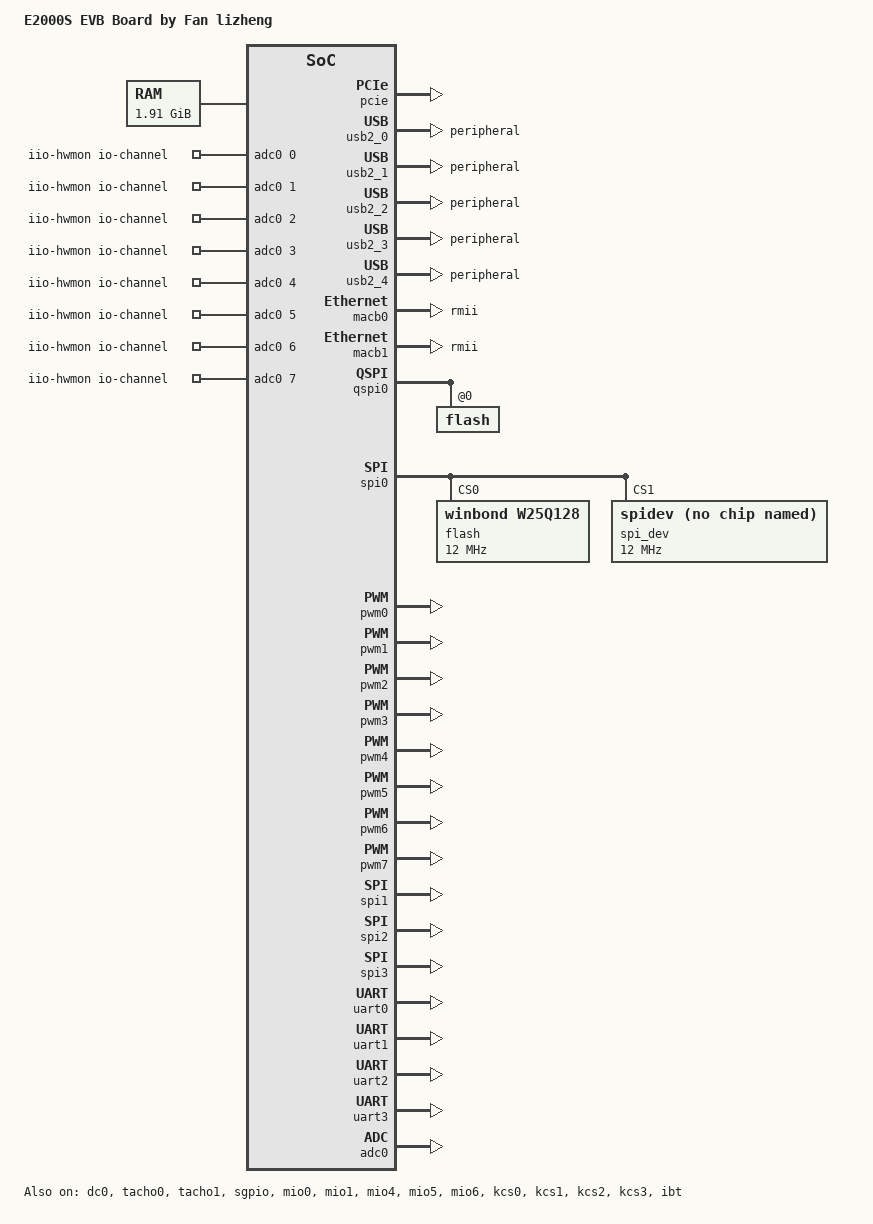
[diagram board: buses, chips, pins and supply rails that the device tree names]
// SPDX-License-Identifier: GPL-2.0
/*
 * DTS file for Phytium E2000S test board
 *
 * Copyright (C) 2022, Phytium Technology Co., Ltd.
 */

/dts-v1/;
/memreserve/ 0x80000000 0x10000;

#include "e2000s.dtsi"

/{
	model = "E2000S EVB Board by Fan lizheng";
	compatible = "phytium,e2000s";

	chosen {
		stdout-path = "serial1:115200n8";
	};

	memory@00{
		device_type = "memory";
		reg = <0x0 0x80000000 0x0 0x7a000000>;
	};

        iio-hwmon {
                compatible = "iio-hwmon";
                io-channels = <&adc0 0>, <&adc0 1>, <&adc0 2>, <&adc0 3>,
                        <&adc0 4>, <&adc0 5>, <&adc0 6>, <&adc0 7>, <&adc1 0> ;
        };
};


&pcie {
	status = "okay";
};

&usb2_0 {
	dr_mode = "peripheral";
	status = "okay";
};

&usb2_1 {
	dr_mode = "peripheral";
	status = "okay";
};

&usb2_2 {
	dr_mode = "peripheral";
	status = "okay";
};

&usb2_3 {
	dr_mode = "peripheral";
	status = "okay";
};

&usb2_4 {
	dr_mode = "peripheral";
	status = "okay";
};

&macb0 {
	phy-mode = "rmii";
	use-mii;
	status = "okay";
};

&macb1 {
	phy-mode = "rmii";
	use-mii;
	use-ncsi;
	status = "okay";
};

&dc0 {
	pipe_mask = /bits/ 8 <0x3>;
	edp_mask = /bits/ 8 <0x0>;
	status = "okay";
};

&qspi0 {
	status = "okay";
	flash@0 {
		#include "openbmc-e2000-flash-layout.dtsi"
	};
};

&spi0 {
	status = "okay";

	flash: w25q128@0 {
		compatible ="winbond,w25q128", "jedec,spi-nor";
		spi-max-frequency = <12000000>;
		reg = <0>;
	};

	spi_dev: spi_dev@1 {
		compatible = "spidev";
		spi-max-frequency = <12000000>;
		reg = <1>;
	};
};

&pwm0 {
	phytium,db = <0 0 0 0 0 0>;
	status = "okay";
};

&pwm1 {
	phytium,db = <0 0 0 1000 1000 0>;
	status = "okay";
};

&pwm2 {
	phytium,db = <0 0 0 1000 1000 1>;
	status = "okay";
};

&pwm3 {
	phytium,db = <0 0 0 1000 1000 2>;
	status = "okay";
};

&pwm4 {
	phytium,db = <0 0 0 0 0 0>;
	status = "okay";
};

&pwm5 {
	phytium,db = <0 0 0 0 0 0>;
	status = "okay";
};

&pwm6 {
	phytium,db = <0 0 0 0 0 0>;
	status = "okay";
};

&pwm7 {
	phytium,db = <0 0 0 0 0 0>;
	status = "okay";
};

&tacho0 {
	status = "okay";
};

&tacho1 {
	status = "okay";
};

&spi1 {
	status = "okay";
};

&spi2 {
	status = "okay";
};

&spi3 {
	status = "okay";
};

&uart0 {
	status = "okay";
};

&uart1 {
	status = "okay";
};

&uart2 {
	status = "okay";
};

&uart3 {
	status = "okay";
};

&sgpio {
	status = "okay";
};

&gpio0 {
	status = "okay";
};

&gpio1 {
	status = "okay";
};

&gpio2 {
	status = "okay";
};

&gpio3 {
	status = "okay";
};

&gpio4 {
	status = "okay";
};

&gpio5 {
	status = "okay";
};

&adc0 {
	status = "okay";
};



&mio0 {
        status = "okay";
};

&mio1 {
        status = "okay";
};

&mio4 {
        status = "okay";
};

&mio5 {
        status = "okay";
};

&mio6 {
        status = "okay";
};


&kcs0 {
        kcs_chan = <1>;
        kcs_addr = <0xca0>;
        status = "okay";
};
&kcs1 {
        kcs_chan = <2>;
        kcs_addr = <0xca8>;
        status = "okay";
};
&kcs2 {
        kcs_chan = <3>;
        kcs_addr = <0xcb2>;
        status = "okay";
};
&kcs3 {
        kcs_chan = <4>;
        kcs_addr = <0xcb0>;
        status = "okay";
};
&ibt {
        status = "okay";
};


